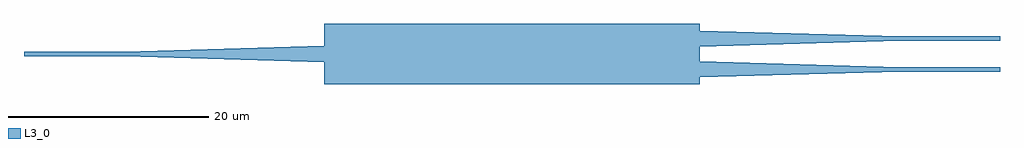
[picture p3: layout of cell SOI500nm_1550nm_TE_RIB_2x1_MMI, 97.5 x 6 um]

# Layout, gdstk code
import gdstk
lib = gdstk.Library(unit=1e-6, precision=1e-09)
def R(c, l, rs):  # rectangles x0, y0, x1, y1
    for r in rs: c.add(gdstk.rectangle(r[:2], r[2:], *l))
def P(c, l, *ps):  # polygons
    for p in ps: c.add(gdstk.Polygon(p, *l))
L3_0 = (3, 0)

soi500nm_1550nm_te_rib_2 = lib.new_cell('SOI500nm_1550nm_TE_RIB_2x1_MMI')
R(soi500nm_1550nm_te_rib_2, L3_0, [(-19.315,-3,18.185,3), (38.185,-1.76,48.185,-1.31), (-49.315,-0.225,-39.315,0.225), (38.185,1.31,48.185,1.76)])
P(soi500nm_1550nm_te_rib_2, L3_0, [(-19.315,-0.8),(-39.315,-0.225),(-39.315,0.225),(-19.315,0.8)],
  [(18.185,0.735),(18.185,2.335),(38.185,1.76),(38.185,1.31)],
  [(18.185,-2.335),(18.185,-0.735),(38.185,-1.31),(38.185,-1.76)])

lib.write_gds('SOI500nm_1550nm_TE_RIB_2x1_MMI.gds')
